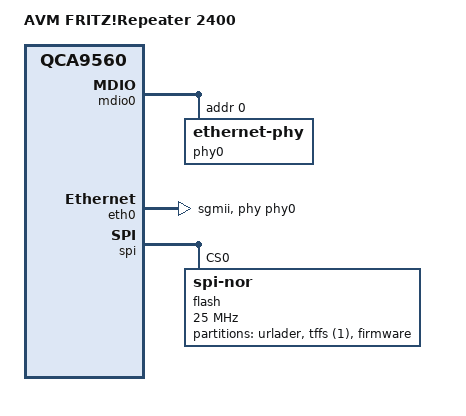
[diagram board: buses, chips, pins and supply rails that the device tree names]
// SPDX-License-Identifier: GPL-2.0-or-later OR MIT

#include "qca956x.dtsi"

/ {
	model = "AVM FRITZ!Repeater 2400";
	compatible = "avm,fritz2400", "qca,qcn5500", "qca,qca9560";
};

&mdio0 {
	status = "okay";

	phy0: ethernet-phy@0 {
		reg = <0>;
		phy-mode = "sgmii";
	};
};

&eth0 {
	pll-data = <0x03000000 0x00000101 0x00001313>;
	phy-handle = <&phy0>;
	phy-mode = "sgmii";
	status = "okay";

	gmac-config {
		device = <&gmac>;

		switch-phy-addr-swap = <1>;
		switch-phy-swap = <1>;
	};
};

&spi {
	status = "okay";

	flash@0 {
		compatible = "jedec,spi-nor";
		reg = <0>;
		spi-max-frequency = <25000000>;

		partitions {
			compatible = "fixed-partitions";
			#address-cells = <1>;
			#size-cells = <1>;

			partition@0 {
				label = "urlader";
				reg = <0x0 0x20000>;
				read-only;
			};

			partition@1 {
				label = "tffs (1)";
				reg = <0x20000 0x70000>;
				read-only;
			};

			partition@2 {
				compatible = "avm,eva-firmware";
				label = "firmware";
				reg = <0x90000 0x1f70000>;
			};
		};
	};
};
